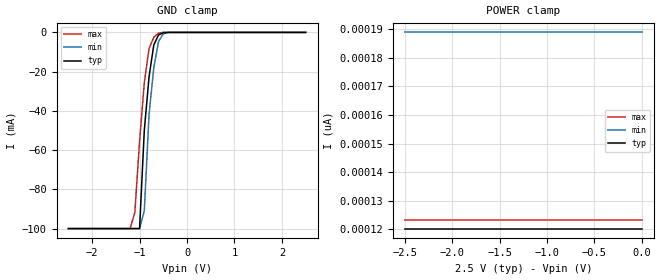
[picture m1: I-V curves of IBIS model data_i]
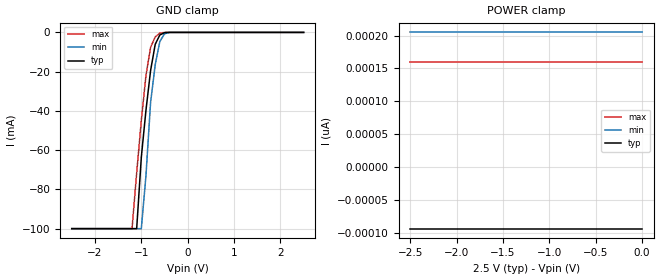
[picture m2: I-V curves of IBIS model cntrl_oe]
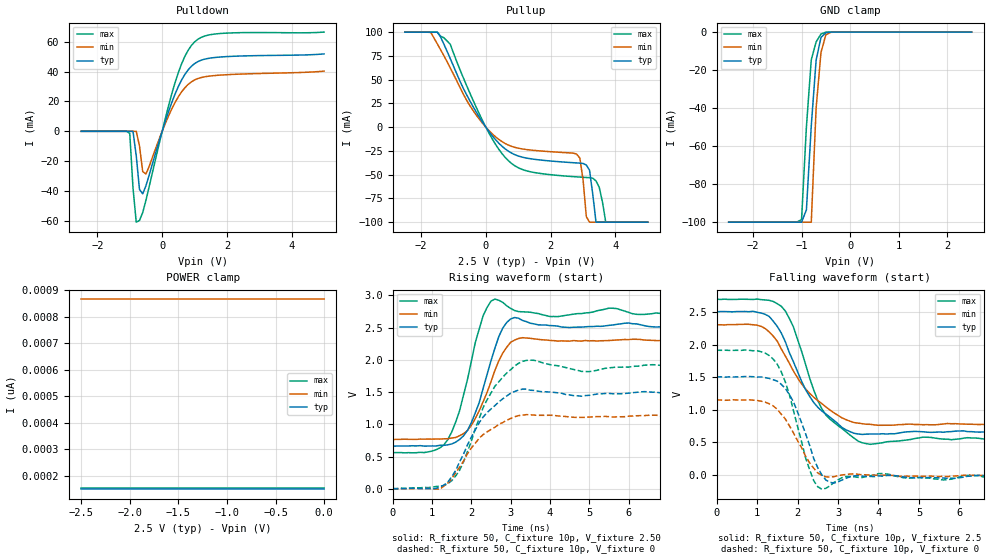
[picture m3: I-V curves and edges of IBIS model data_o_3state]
|   ON Semiconductor Corporation
|   IBIS Model of NL17SZ126DF
|   Non-inverting 3-state Buffer
|   SC-88A/ SOT-353/ SC-70 (DF) Package Type
[IBIS Ver]   3.2
[Comment Char]   |_char
[File name]   nl17sz126df_230.ibs
[File Rev]   1.0
[Date]   02/02/03
[Source]
From lab measurements at ON Semiconductor
[Notes]
Created by Duane Mattheisen
Modeling Support Engineer
| This model represents the NL17SZ126DF where 2.30 <= Vcc =< 2.70
[Disclaimer]
ON Semiconductor Corporation hereby grants
the user of this IBIS model a license to use this IBIS
model under the following terms. This license in non-exclusive
and non-transferable. Before using this IBIS model. After reading
the terms and conditions of this license, the user either must accept
these terms, or the IBIS model should be returned to ON within 30 days.
     The user is hereby granted a license to use the
IBIS model. This shall not be construed as a right to sell, or otherwise
profit either by leasing or renting this software.
     The user may modify the IBIS model to suit his specific applications
but rights to derivative works and such modifications shall belong to
ON Semiconductor.
     This IBIS model is provided on an "as is" basis. ON Semiconductor
makes absolutely no warranty with respect to the information contained
herein. By use of this IBIS model, the user assumes full risk as to the
quality and suitablility of the model to his particular use, and by using
this model assumes the entire risk. Under all circumstances the user shall
not hold ON Semiconductor liable in any way for the results obtained. ON
Semiconductor reserves the right to make to improve the model for reliability,
function, or design. ON Semiconductor does not convey any license under patent
rights or any other intellectual property rights, including those of third
parties.
ON Semiconductor is not obligated to provide maintenance or support
for the licensed IBIS model.
Cont ON at ATTN:LOGIC APPLICATIONS/IBIS MODEL.
5005 E. McDowell Road, Phoenix AZ 85008
[Copyright]
(c) 2002 ON Semiconductor Corp.
[Component]   NL17SZ126DF
Si_location Pin
Timing_location Pin
[Manufacturer]   ON Semiconductor Corp.
[Package]
|   typ   min   max
R_pkg   0.025   0.021   0.029
L_pkg   1.529nH   1.312nH   1.906nH
C_pkg   0.156pF   0.110pF   0.240pF
[Pin] signal_name   model_name   R_pin   L_pin   C_pin
1   OE   cntrl_oe   0.021   1.511nH   0.144pF
2   INA   data_i   0.023   1.312nH   0.138pF
3   GND   GND   0.029   1.906nH   0.240pF
4   OUTY   data_o_3state   0.026   1.541nH   0.150pF
5   VCC   POWER   0.025   1.374nH   0.110pF
| Models and submodels in the file (3): data_i (Input), cntrl_oe (Input), data_o_3state (3-state)
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[Model]   data_i
Model_type Input
Vinh=1.75
Vinl=.75
| variable   typ   min   max
C_comp   1.9pf   1.9pf   1.9pf
[Temperature Range] 25   85   -40
[Voltage Range]  2.50   2.30   2.70
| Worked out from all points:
|   GND clamp passes 1 mA (typ) near -0.57 V on its own axis
[GND Clamp]
-2.5V     -99.95mA   -100mA     -100mA
-1.2V     -99.95mA   -100mA     -100mA
-1.1V     -99.95mA   -100mA     -91.76mA
-1V       -99.95mA   -100mA     -55.6mA
-900mV    -49.93mA   -90.82mA   -25.54mA
-800mV    -22.6mA    -41.76mA   -8.223mA
-700mV    -6.364mA   -17.98mA   -2.459mA
-600mV    -1.313mA   -4.656mA   -356.7uA
-500mV    -134.8uA   -699.6uA   -8.643uA
-400mV    -4.542uA   -52.76uA   -81.46nA
2.5V      96.51pA    177.1pA    69.39pA
[POWER Clamp]
-2.5V     120.3pA    188.8pA    123.4pA
-2.4V     120.3pA    188.8pA    123.4pA
-2.3V     120.3pA    188.8pA    123.4pA
0V        120.3pA    188.8pA    123.4pA
[Model]   cntrl_oe
Model_type Input
Vinh=1.75
Vinl=.75
| variable   typ   min   max
C_comp   1.9pf   1.9pf   1.9pf
[Temperature Range] 25   85   -40
[Voltage Range] 2.50   2.30   2.70
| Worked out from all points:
|   GND clamp passes 1 mA (typ) near -0.57 V on its own axis
[GND Clamp]
-2.5V     -100mA     -100mA     -100mA
-1.2V     -100mA     -100mA     -100mA
-1.1V     -100mA     -100mA     -71.62mA
-1V       -63.62mA   -100mA     -44.89mA
-900mV    -39.71mA   -73.03mA   -21.97mA
-800mV    -19.43mA   -35.62mA   -7.591mA
-700mV    -6.046mA   -16.41mA   -2.33mA
-600mV    -1.294mA   -4.593mA   -347.6uA
-500mV    -137.7uA   -710.5uA   -8.642uA
-400mV    -4.784uA   -54.54uA   -82.38nA
2.5V      92.3pA     199.6pA    88.23pA
[POWER Clamp]
-2.5V     -94.11pA   204.9pA    159.5pA
-2.4V     -94.11pA   204.9pA    159.5pA
-2.3V     -94.11pA   204.9pA    159.5pA
0V        -94.11pA   204.9pA    159.5pA
[Model]   data_o_3state
Model_type 3-state
Enable Active-High
Polarity Non-Inverting
Vref=0
Vmeas=1.25
Rref=500
Cref=50p
| variable   typ   min   max
C_comp   4.1pf   3.075pf   5.125pf
[Temperature Range] 25   85   -40
[Voltage Range]  2.50   2.30   2.70
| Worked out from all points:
|   slope of the pulldown table from 0 to 0.375 V, typ, clamps not added: 15.9 ohm
|   slope of the pullup table from 0 to 0.375 V, typ, clamps not added: 23.5 ohm
|   GND clamp passes 1 mA (typ) near -0.53 V on its own axis
|   falling waveform, R_fixture 50, C_fixture 10p, V_fixture 2.5: 20-80 % time 883ps typ, 1.09ns min, 728ps max; typ from 2.5 V to 0.663 V
|   falling waveform, R_fixture 50, C_fixture 10p, V_fixture 0: 20-80 % time 549ps typ, 640ps min, 519ps max; typ from 1.5 V to 0.002 V
|   rising waveform, R_fixture 50, C_fixture 10p, V_fixture 2.50: 20-80 % time 573ps typ, 621ps min, 531ps max; typ from 0.662 V to 2.5 V
|   rising waveform, R_fixture 50, C_fixture 10p, V_fixture 0: 20-80 % time 829ps typ, 911ps min, 763ps max; typ from 0.001 V to 1.51 V
[Pullup]
-2.5V     99.99mA    99.99mA    100.1mA
-1.7V     99.99mA    99.66mA    100.1mA
-1.1V     72.17mA    62.45mA    87.25mA
-200mV    10.35mA    8.292mA    13.75mA
800mV     -27.39mA   -20.25mA   -38.39mA
2.8V      -37.61mA   -28.25mA   -52.28mA
2.9V      -37.83mA   -32.57mA   -52.51mA
3.1V      -39.82mA   -94.1mA    -52.94mA
3.2V      -45.32mA   -100mA     -53.16mA
3.4V      -100mA     -100mA     -56.61mA
3.7V      -100mA     -100mA     -100mA
5V        -100mA     -100mA     -100mA
[Pulldown]
-2.5V     1.997uA    -998.4nA   0A
-1V       1.997uA    -998.4nA   -1.381mA
-900mV    1.997uA    -998.4nA   -37.9mA
-800mV    -16.36mA   -998.4nA   -60.87mA
-700mV    -38.93mA   -9.707mA   -59.71mA
-600mV    -41.88mA   -26.99mA   -54.39mA
-500mV    -36.44mA   -28.56mA   -46.2mA
400mV     25.02mA    19.35mA    32.72mA
700mV     38.07mA    29.14mA    50.14mA
1V        45.34mA    34.4mA     59.84mA
1.8V      49.78mA    37.67mA    65.53mA
5V        51.86mA    40.34mA    66.47mA
[GND Clamp]
-2.5V     -100mA     -100mA     -100mA
-1.1V     -100mA     -100mA     -100mA
-1V       -100mA     -100mA     -98.62mA
-900mV    -93.51mA   -100mA     -49.88mA
-800mV    -49.32mA   -100mA     -14.6mA
-700mV    -14.73mA   -39.96mA   -5.162mA
-600mV    -2.783mA   -10.72mA   -1.011mA
-500mV    -364.8uA   -1.435mA   -36.15uA
-400mV    -14.94uA   -131.1uA   -398.3nA
2.5V      81.96pA    335.3pA    -79.96pA
[POWER Clamp]
-2.5V     148.6pA    865.9pA    153.2pA
-2.4V     148.6pA    865.9pA    153.2pA
-2.3V     148.6pA    865.9pA    153.2pA
0V        148.6pA    865.9pA    153.2pA
[Ramp]
dV/dt_r   0.880E+0/0.832E-9   0.680E+0/0.931E-9   1.090E+0/0.760E-9
dV/dt_f   1.137E+0/0.894E-9   0.932E+0/1.090E-9   1.247E+0/0.730E-9
[Falling Waveform]
R_fixture=50
C_fixture=10p
V_fixture=2.5
V_fixture_min=2.30
V_fixture_max=2.70
|Time   Typ   Min   Max
|SECONDS   VOLTS   VOLTS   VOLTS
0s        2.501V     2.302V     2.696V
1.1ns     2.484V     2.28V      2.689V
1.3ns     2.432V     2.195V     2.678V
1.6ns     2.177V     1.932V     2.587V
1.9ns     1.736V     1.593V     2.27V
2.2ns     1.308V     1.32V      1.696V
2.6ns     981.4mV    1.095V     1.017V
3.2ns     691.6mV    848.4mV    661.3mV
3.6ns     621.9mV    786.4mV    493.8mV
9.9ns     663mV      769.7mV    563.4mV
[Falling Waveform]
R_fixture=50
C_fixture=10p
V_fixture=0
|Time   Typ   Min   Max
|SECONDS   VOLTS   VOLTS   VOLTS
0s        1.502V     1.152V     1.914V
1ns       1.502V     1.143V     1.906V
1.5ns     1.439V     1.008V     1.698V
1.9ns     1.121V     645.4mV    987.4mV
2.3ns     454.1mV    186mV      80.58mV
2.6ns     3.948mV    -4.572mV   -217.5mV
2.9ns     -124.8mV   -25.64mV   -115.5mV
4ns       -14mV      -3.592mV   20.68mV
5.6ns     -46.27mV   -20.9mV    -76.84mV
9.9ns     2.25mV     4.654mV    789.9uV
[Rising Waveform]
R_fixture=50
C_fixture=10p
V_fixture=2.50
V_fixture_min=2.30
V_fixture_max=2.70
|Time   Typ   Min   Max
|SECONDS   VOLTS   VOLTS   VOLTS
0s        661.9mV    766.6mV    562.3mV
1ns       666.1mV    771.5mV    586.6mV
1.4ns     683.9mV    778.4mV    764.3mV
1.7ns     767.1mV    825.5mV    1.212V
2ns       1.028V     985.7mV    1.979V
2.3ns     1.561V     1.353V     2.687V
2.6ns     2.184V     1.841V     2.944V
2.9ns     2.581V     2.198V     2.839V
3.3ns     2.613V     2.345V     2.746V
9.9ns     2.503V     2.3V       2.704V
[Rising Waveform]
R_fixture=50
C_fixture=10p
V_fixture=0
|Time   Typ   Min   Max
|SECONDS   VOLTS   VOLTS   VOLTS
0s        621.9uV    768.8uV    7.286mV
1.1ns     9.071mV    -3.131mV   36.92mV
1.5ns     189.6mV    157.3mV    126.8mV
1.8ns     539mV      430.8mV    418.2mV
2.2ns     1.028V     785.5mV    1.094V
2.6ns     1.292V     956.8mV    1.593V
3.3ns     1.547V     1.143V     1.977V
5ns       1.452V     1.115V     1.819V
6.6ns     1.5V       1.143V     1.926V
9.9ns     1.507V     1.149V     1.909V
